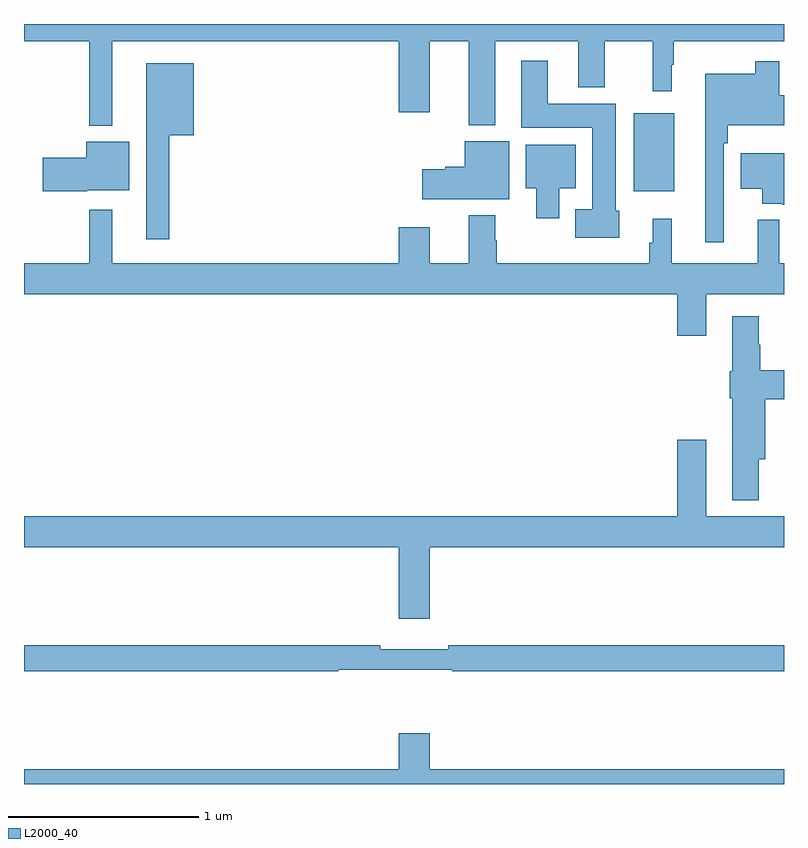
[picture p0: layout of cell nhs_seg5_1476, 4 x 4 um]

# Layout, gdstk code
import gdstk
lib = gdstk.Library(unit=1e-6, precision=1e-09)
def R(c, l, rs):  # rectangles x0, y0, x1, y1
    for r in rs: c.add(gdstk.rectangle(r[:2], r[2:], *l))
def P(c, l, *ps):  # polygons
    for p in ps: c.add(gdstk.Polygon(p, *l))
L2000_40 = (2000, 40)

nhs_seg5_1476 = lib.new_cell('nhs_seg5_1476')
R(nhs_seg5_1476, L2000_40, [(202.208,907.919,202.423,908.329)])
P(nhs_seg5_1476, L2000_40, [(199,908.708),(199.344,908.708),(199.344,908.264),(199.465,908.264),(199.465,908.708),(200.972,908.708),(200.972,908.334),(201.136,908.334),(201.136,908.708),(201.341,908.708),(201.341,908.267),(201.481,908.267),(201.481,908.708),(201.917,908.708),(201.917,908.465),(202.057,908.465),(202.057,908.708),(202.309,908.708),(202.309,908.445),(202.408,908.445),(202.408,908.585),(202.42,908.585),(202.42,908.708),(203,908.708),(203,908.799),(199,908.799)],
  [(202.132,907.815),(202.114,907.815),(202.114,908.38),(201.757,908.38),(201.757,908.605),(201.617,908.605),(201.617,908.252),(201.992,908.252),(201.992,907.825),(201.902,907.825),(201.902,907.673),(202.132,907.673)],
  [(202.683,908.171),(202.703,908.171),(202.703,908.267),(203,908.267),(203,908.425),(202.976,908.425),(202.976,908.602),(202.848,908.602),(202.848,908.536),(202.586,908.536),(202.586,907.65),(202.683,907.65)],
  [(199.765,908.213),(199.894,908.213),(199.894,908.593),(199.643,908.593),(199.643,907.665),(199.765,907.665)],
  [(201.553,908.182),(201.32,908.182),(201.32,908.048),(201.216,908.048),(201.216,908.035),(201.096,908.035),(201.096,907.877),(201.553,907.877)],
  [(199.332,907.925),(199.555,907.925),(199.555,908.179),(199.328,908.179),(199.328,908.096),(199.098,908.096),(199.098,907.918),(199.332,907.918)],
  [(201.817,907.934),(201.904,907.934),(201.904,908.164),(201.641,908.164),(201.641,907.934),(201.695,907.934),(201.695,907.776),(201.817,907.776)],
  [(203,908.119),(202.772,908.119),(202.772,907.931),(202.886,907.931),(202.886,907.853),(202.99,907.853),(202.99,907.848),(203,907.848)],
  [(202.591,907.376),(203,907.376),(203,907.54),(202.975,907.54),(202.975,907.768),(202.862,907.768),(202.862,907.54),(202.409,907.54),(202.409,907.774),(202.31,907.774),(202.31,907.649),(202.291,907.649),(202.291,907.54),(201.489,907.54),(201.489,907.661),(201.481,907.661),(201.481,907.792),(201.341,907.792),(201.341,907.54),(201.136,907.54),(201.136,907.729),(200.972,907.729),(200.972,907.54),(199.465,907.54),(199.465,907.822),(199.344,907.822),(199.344,907.54),(199,907.54),(199,907.376),(202.439,907.376),(202.439,907.158),(202.591,907.158)],
  [(202.867,906.509),(202.9,906.509),(202.9,906.824),(203,906.824),(203,906.976),(202.875,906.976),(202.875,907.11),(202.867,907.11),(202.867,907.261),(202.727,907.261),(202.727,906.972),(202.715,906.972),(202.715,906.828),(202.727,906.828),(202.727,906.293),(202.867,906.293)],
  [(201.136,906.044),(203,906.044),(203,906.208),(202.591,906.208),(202.591,906.61),(202.439,906.61),(202.439,906.208),(199,906.208),(199,906.044),(200.972,906.044),(200.972,905.67),(201.136,905.67)],
  [(200.655,905.4),(201.255,905.4),(201.255,905.392),(203,905.392),(203,905.528),(201.232,905.528),(201.232,905.509),(200.876,905.509),(200.876,905.528),(199,905.528),(199,905.392),(200.655,905.392)],
  [(203,904.876),(201.136,904.876),(201.136,905.065),(200.972,905.065),(200.972,904.876),(199,904.876),(199,904.799),(203,904.799)])

lib.write_gds('nhs_seg5_1476.gds')
